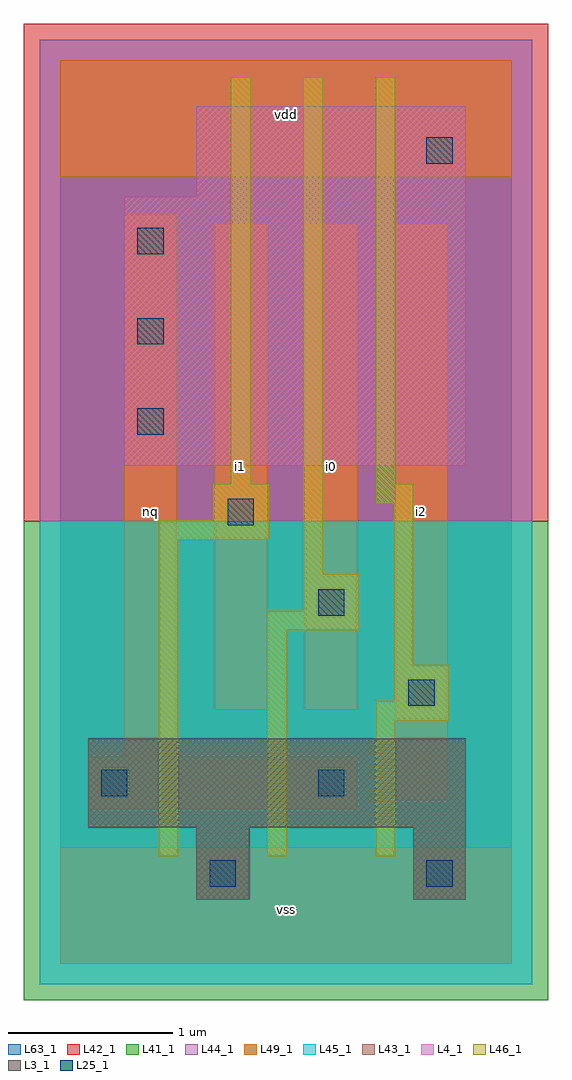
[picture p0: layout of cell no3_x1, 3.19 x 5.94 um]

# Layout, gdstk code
import gdstk
lib = gdstk.Library(unit=1e-6, precision=1e-09)
def R(c, l, rs):  # rectangles x0, y0, x1, y1
    for r in rs: c.add(gdstk.rectangle(r[:2], r[2:], *l))
def A(c, l, x, y, w, h, nx, ny, dx, dy):  # array of equal rectangles
    R(c, l, [(x+i*dx, y+j*dy, x+i*dx+w, y+j*dy+h) for i in range(nx) for j in range(ny)])
L3_1 = (3, 1)
L4_1 = (4, 1)
L25_1 = (25, 1)
L41_1 = (41, 1)
L42_1 = (42, 1)
L43_1 = (43, 1)
L44_1 = (44, 1)
L45_1 = (45, 1)
L46_1 = (46, 1)
L49_1 = (49, 1)
L63_1 = (63, 1)

no3_x1 = lib.new_cell('no3_x1')
R(no3_x1, L3_1, [(0.83,0.39,1.15,0.83), (2.15,0.39,2.47,0.83), (0.17,0.83,2.47,1.37)])
R(no3_x1, L4_1, [(0.39,3.03,2.47,4.67), (0.83,4.67,2.47,5.22)])
A(no3_x1, L25_1, 0.47, 3.22, 0.16, 0.16, 1, 3, 0, 0.55)
R(no3_x1, L25_1, [(0.91,0.47,1.07,0.63), (2.23,0.47,2.39,0.63), (0.25,1.02,0.41,1.18), (1.57,1.02,1.73,1.18), (2.12,1.57,2.28,1.73), (1.57,2.12,1.73,2.28), (1.02,2.67,1.18,2.83), (2.23,4.87,2.39,5.03)])
R(no3_x1, L41_1, [(-0.22,-0.22,2.97,2.695)])
R(no3_x1, L42_1, [(-0.22,2.695,2.97,5.72)])
R(no3_x1, L43_1, [(0.83,0.39,1.15,0.83), (2.15,0.39,2.47,0.83), (0.17,0.83,2.47,1.37), (0.39,3.03,2.47,4.67), (0.83,4.67,2.47,5.22)])
R(no3_x1, L44_1, [(-0.125,2.695,2.875,5.625)])
R(no3_x1, L45_1, [(-0.125,-0.125,2.875,2.695)])
R(no3_x1, L46_1, [(0.6,0.655,0.72,2.58), (1.26,0.655,1.38,2.03), (1.92,0.655,2.04,1.48), (1.92,1.48,2.37,1.6), (2.03,1.6,2.37,1.82), (2.03,1.82,2.15,2.8), (1.26,2.03,1.82,2.15), (1.48,2.15,1.82,2.37), (1.48,2.37,1.6,5.395), (0.6,2.58,1.27,2.7), (0.93,2.7,1.27,2.92), (1.92,2.8,2.15,2.92), (1.04,2.92,1.16,5.395), (1.92,2.92,2.04,5.395)])
R(no3_x1, L49_1, [(0,0,2.75,0.71), (0.17,0.94,1.81,1.26), (2.04,0.995,2.36,4.505), (0.39,1.26,0.71,4.56), (0.94,1.545,1.26,4.505), (1.49,1.545,1.81,4.505), (0,4.79,2.75,5.5)])
R(no3_x1, L63_1, [(0,0,2.75,5.5)])
no3_x1.add(gdstk.Label('nq', (0.55,2.75), layer=49, texttype=1))
no3_x1.add(gdstk.Label('nq', (0.55,2.75), layer=49, texttype=1))
no3_x1.add(gdstk.Label('i1', (1.1,3.025), layer=49, texttype=1))
no3_x1.add(gdstk.Label('i1', (1.1,3.025), layer=49, texttype=1))
no3_x1.add(gdstk.Label('vss', (1.375,0.33), layer=49, texttype=1))
no3_x1.add(gdstk.Label('vss', (1.375,0.33), layer=49, texttype=1))
no3_x1.add(gdstk.Label('i0', (1.65,3.025), layer=49, texttype=1))
no3_x1.add(gdstk.Label('i0', (1.65,3.025), layer=49, texttype=1))
no3_x1.add(gdstk.Label('vdd', (1.375,5.17), layer=49, texttype=1))
no3_x1.add(gdstk.Label('vdd', (1.375,5.17), layer=49, texttype=1))
no3_x1.add(gdstk.Label('i2', (2.2,2.75), layer=49, texttype=1))
no3_x1.add(gdstk.Label('i2', (2.2,2.75), layer=49, texttype=1))

lib.write_gds('no3_x1.gds')
